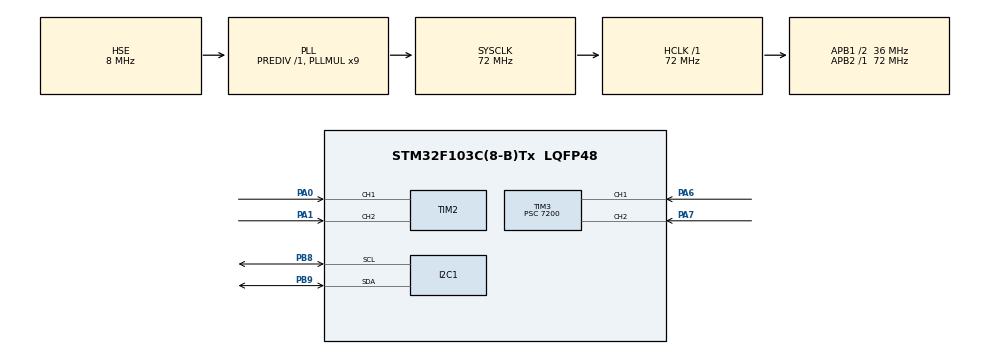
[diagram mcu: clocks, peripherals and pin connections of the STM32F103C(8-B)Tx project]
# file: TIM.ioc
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Mcu.Family=STM32F1
Mcu.Name=STM32F103C(8-B)Tx
Mcu.Package=LQFP48
NVIC.PriorityGroup=NVIC_PRIORITYGROUP_4
NVIC.TIM2_IRQn=true\:0\:0\:false\:false\:true\:true\:true\:true
NVIC.TIM3_IRQn=true\:0\:0\:false\:false\:true\:true\:true\:true
PA0-WKUP.Signal=S_TIM2_CH1_ETR
PA1.Signal=S_TIM2_CH2
PA13.Mode=Serial_Wire
PA13.Signal=SYS_JTMS-SWDIO
PA14.Mode=Serial_Wire
PA14.Signal=SYS_JTCK-SWCLK
PA6.Signal=S_TIM3_CH1
PA7.Signal=S_TIM3_CH2
PB8.Mode=I2C
PB8.Signal=I2C1_SCL
PB9.Mode=I2C
PB9.Signal=I2C1_SDA
PD0-OSC_IN.Mode=HSE-External-Oscillator
PD0-OSC_IN.Signal=RCC_OSC_IN
PD1-OSC_OUT.Mode=HSE-External-Oscillator
PD1-OSC_OUT.Signal=RCC_OSC_OUT
ProjectManager.HeapSize=0x200
ProjectManager.StackSize=0x400
ProjectManager.TargetToolchain=STM32CubeIDE
RCC.AHBFreq_Value=72000000
RCC.APB1CLKDivider=RCC_HCLK_DIV2
RCC.APB1Freq_Value=36000000
RCC.APB1TimFreq_Value=72000000
RCC.APB2Freq_Value=72000000
RCC.APB2TimFreq_Value=72000000
RCC.HCLKFreq_Value=72000000
RCC.PLLMUL=RCC_PLL_MUL9
RCC.PLLSourceVirtual=RCC_PLLSOURCE_HSE
RCC.SYSCLKFreq_VALUE=72000000
RCC.SYSCLKSource=RCC_SYSCLKSOURCE_PLLCLK
RCC.USBFreq_Value=72000000
SH.S_TIM2_CH1_ETR.0=TIM2_CH1,Encoder_Interface
SH.S_TIM2_CH2.0=TIM2_CH2,Encoder_Interface
SH.S_TIM3_CH1.0=TIM3_CH1,Encoder_Interface
SH.S_TIM3_CH2.0=TIM3_CH2,Encoder_Interface
TIM2.EncoderMode=TIM_ENCODERMODE_TI12
TIM3.EncoderMode=TIM_ENCODERMODE_TI1
TIM3.Period=10-1
TIM3.Prescaler=7200
board=custom

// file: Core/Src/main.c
/* USER CODE BEGIN Header */
/**
  ******************************************************************************
  * @file           : main.c
  * @brief          : Main program body
  ******************************************************************************
  * @attention
  *
  * Copyright (c) 2023 STMicroelectronics.
  * All rights reserved.
  *
  * This software is licensed under terms that can be found in the LICENSE file
  * in the root directory of this software component.
  * If no LICENSE file comes with this software, it is provided AS-IS.
  *
  ******************************************************************************
  */
/* USER CODE END Header */
#include "main.h"
#include "i2c.h"
#include "tim.h"
#include "gpio.h"

/* USER CODE BEGIN Includes */
#include "OLED.h"
/* USER CODE END Includes */

void SystemClock_Config(void);

/* USER CODE BEGIN 0 */
uint16_t Num = -1;
/* USER CODE END 0 */

int main(void)
{

  /* MCU Configuration--------------------------------------------------------*/

  /* Reset of all peripherals, Initializes the Flash interface and the Systick. */
  HAL_Init();

  /* Configure the system clock */
  SystemClock_Config();

  /* Initialize all configured peripherals */
  MX_GPIO_Init();
  MX_I2C1_Init();
  MX_TIM3_Init();
  MX_TIM2_Init();
  /* USER CODE BEGIN 2 */
  HAL_Delay(50);
  OLED_Init();

  HAL_TIM_Base_Start_IT(&htim3);

  HAL_TIM_Encoder_Init(&htim3, TIM_CHANNEL_ALL);
  HAL_TIM_Encoder_Start(&htim3, TIM_CHANNEL_ALL);
  OLED_ShowString(1, 5, "2023 11.29");
  /* USER CODE END 2 */

  /* Infinite loop */
  /* USER CODE BEGIN WHILE */
  while (1)
  {OLED_ShowString(3, 1, "CNT:");
	 OLED_ShowString(2, 1, "Num:");
	  OLED_ShowNum(2, 5, Num, 5);
	  OLED_ShowNum(3, 5,Timer_GetCounter(), 5);
    /* USER CODE END WHILE */

  }
}

void SystemClock_Config(void)
{
  RCC_OscInitTypeDef RCC_OscInitStruct = {0};
  RCC_ClkInitTypeDef RCC_ClkInitStruct = {0};

  /** Initializes the RCC Oscillators according to the specified parameters
  * in the RCC_OscInitTypeDef structure.
  */
  RCC_OscInitStruct.OscillatorType = RCC_OSCILLATORTYPE_HSE;
  RCC_OscInitStruct.HSEState = RCC_HSE_ON;
  RCC_OscInitStruct.HSEPredivValue = RCC_HSE_PREDIV_DIV1;
  RCC_OscInitStruct.HSIState = RCC_HSI_ON;
  RCC_OscInitStruct.PLL.PLLState = RCC_PLL_ON;
  RCC_OscInitStruct.PLL.PLLSource = RCC_PLLSOURCE_HSE;
  RCC_OscInitStruct.PLL.PLLMUL = RCC_PLL_MUL9;
  if (HAL_RCC_OscConfig(&RCC_OscInitStruct) != HAL_OK)
  {
    Error_Handler();
  }

  /** Initializes the CPU, AHB and APB buses clocks
  */
  RCC_ClkInitStruct.ClockType = RCC_CLOCKTYPE_HCLK|RCC_CLOCKTYPE_SYSCLK
                              |RCC_CLOCKTYPE_PCLK1|RCC_CLOCKTYPE_PCLK2;
  RCC_ClkInitStruct.SYSCLKSource = RCC_SYSCLKSOURCE_PLLCLK;
  RCC_ClkInitStruct.AHBCLKDivider = RCC_SYSCLK_DIV1;
  RCC_ClkInitStruct.APB1CLKDivider = RCC_HCLK_DIV2;
  RCC_ClkInitStruct.APB2CLKDivider = RCC_HCLK_DIV1;

  if (HAL_RCC_ClockConfig(&RCC_ClkInitStruct, FLASH_LATENCY_2) != HAL_OK)
  {
    Error_Handler();
  }
}

/* USER CODE BEGIN 4 */
void HAL_TIM_PeriodElapsedCallback(TIM_HandleTypeDef *htim)
{
	if(htim==&htim3)
	{
		Num++;
	}

}

/* USER CODE END 4 */

void Error_Handler(void)
{
  __disable_irq();
  while (1)
  {
  }
}
